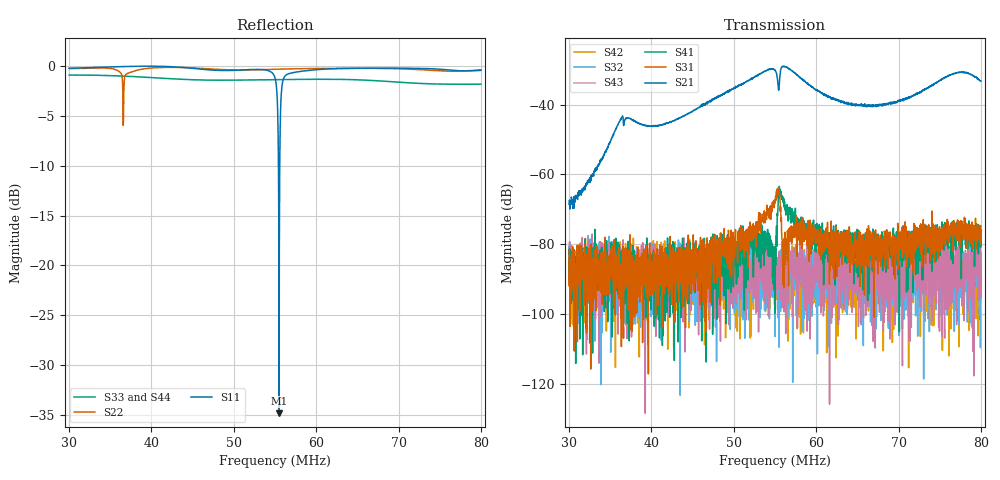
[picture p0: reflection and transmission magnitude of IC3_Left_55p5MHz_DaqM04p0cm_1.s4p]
#  HZ  S  DB  R  50.00
! Rohde & Schwarz Vector Network Analyzer
! Rohde-Schwarz,ZNB8-4Port,1311601044102961,2.82
! Created: UTC 2/13/2019, 9:14:27 AM
! freq[Hz]  db:S11  ang:S11  db:S12  ang:S12  db:S13  ang:S13  db:S14  ang:S14
!  db:S21  ang:S21  db:S22  ang:S22  db:S23  ang:S23  db:S24  ang:S24
!  db:S31  ang:S31  db:S32  ang:S32  db:S33  ang:S33  db:S34  ang:S34
!  db:S41  ang:S41  db:S42  ang:S42  db:S43  ang:S43  db:S44  ang:S44
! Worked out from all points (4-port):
!   2001 points, 30 MHz to 80 MHz, reference 50 ohm
!   strongest paths, dB at 30 MHz, 42.5 MHz, 55 MHz, 67.5 MHz, 80 MHz:
!     S21: -68.6, -44.8, -30.2, -40.5, -33.2
!     S31: -81.6, -83.7, -68.2, -77.6, -75.9
!     S41: -85.1, -95.9, -84.4, -77.1, -79.2
!     S43: -90.4, -94.4, -82.3, -87.8, -95.2
!     S32: -80.7, -90.6, -106.4, -83.8, -88.3
!     S42: -83.9, -87.4, -83.7, -80.5, -82.6
!   lowest |S11| = -34.8 dB at 55.5 MHz (marker M1), VSWR 1.04, Z = 51.8 + j0.471 ohm
!   |S11| at or under -10 dB: 55.41986 MHz to 55.57456 MHz (154.7 kHz wide, 0.279 % of centre)
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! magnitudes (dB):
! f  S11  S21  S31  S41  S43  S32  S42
! 30 MHz  -0.2  -68.6  -81.6  -85.1  -90.4  -80.7  -83.9
! 36.3 MHz  -0.1  -44.2  -95.4  -89.0  -82.5  -91.4  -97.3
! 54.85 MHz  -0.9  -29.9  -69.4  -80.6  -80.8  -94.5  -83.7
! 55.5 MHz  -34.8  -35.0  -64.7  -65.6  -84.0  -109.5  -92.6
! 56.15 MHz  -1.1  -29.0  -81.5  -67.7  -86.7  -89.4  -86.5
! 65.65 MHz  -0.2  -40.3  -81.9  -93.1  -93.4  -94.0  -89.1
! 80 MHz  -0.5  -33.2  -75.9  -79.2  -95.2  -88.3  -82.6
